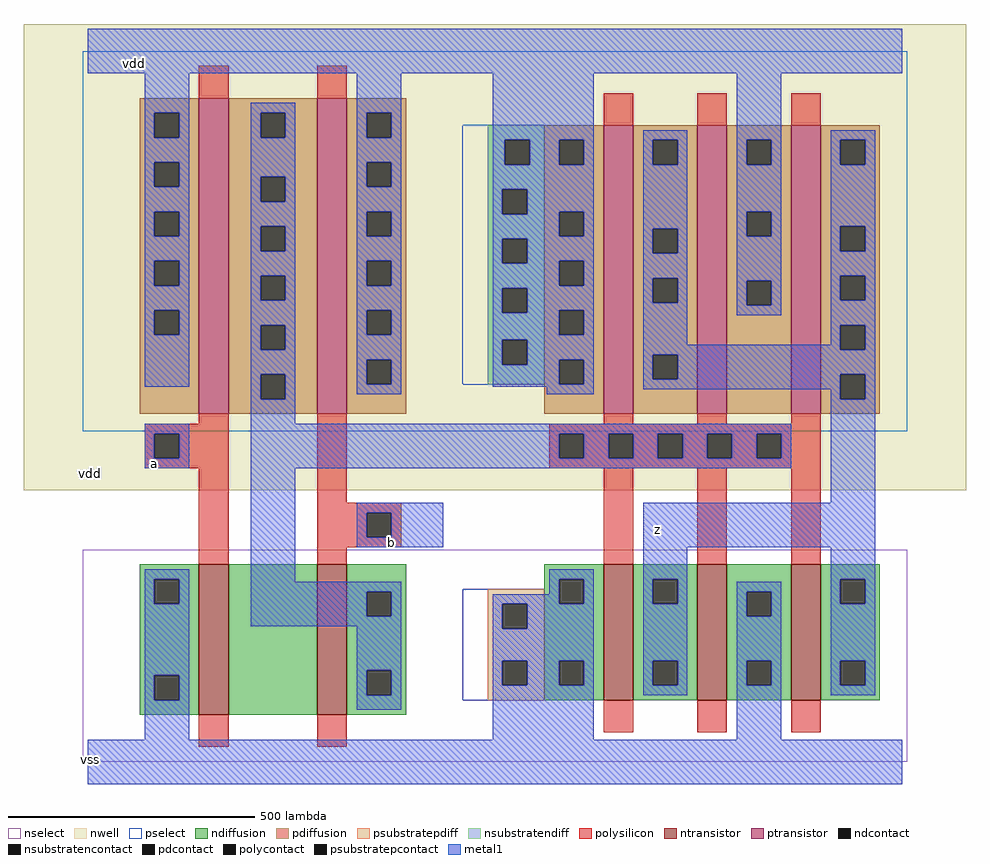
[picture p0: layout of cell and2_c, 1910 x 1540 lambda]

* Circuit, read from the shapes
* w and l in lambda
.subckt and2_c z a b vdd vss
M1 n1 a vss vss nfet w=305 l=60
M2 n2 b n1 vss nfet w=305 l=60
M3 z n2 vss vss nfet w=275 l=60 m=3
M4 n2 a vdd vdd pfet w=640 l=60
M5 vdd b n2 vdd pfet w=640 l=60
M6 z n2 vdd vdd pfet w=585 l=60 m=3
.ends

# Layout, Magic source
magic
tech amic5n
<< nwell >>
rect -130 550 1780 1495
<< ntransistor >>
rect 225 95 285 400
rect 465 95 525 400
rect 1045 125 1105 400
rect 1235 125 1295 400
rect 1425 125 1485 400
<< ptransistor >>
rect 225 705 285 1345
rect 465 705 525 1345
rect 1045 705 1105 1290
rect 1235 705 1295 1290
rect 1425 705 1485 1290
<< nselect >>
rect 760 765 925 1290
rect -10 350 1660 430
rect -10 125 760 350
rect 925 125 1660 350
rect -10 0 1660 125
<< pselect >>
rect -10 1290 1660 1440
rect -10 765 760 1290
rect 925 765 1660 1290
rect -10 670 1660 765
rect 760 125 925 350
<< ndiffusion >>
rect 105 370 225 400
rect 105 320 135 370
rect 185 320 225 370
rect 105 175 225 320
rect 105 125 135 175
rect 185 125 225 175
rect 105 95 225 125
rect 285 95 465 400
rect 525 345 645 400
rect 925 370 1045 400
rect 525 295 565 345
rect 615 295 645 345
rect 525 185 645 295
rect 525 135 565 185
rect 615 135 645 185
rect 525 95 645 135
rect 925 320 955 370
rect 1005 320 1045 370
rect 925 205 1045 320
rect 925 155 955 205
rect 1005 155 1045 205
rect 925 125 1045 155
rect 1105 370 1235 400
rect 1105 320 1145 370
rect 1195 320 1235 370
rect 1105 205 1235 320
rect 1105 155 1145 205
rect 1195 155 1235 205
rect 1105 125 1235 155
rect 1295 345 1425 400
rect 1295 295 1335 345
rect 1385 295 1425 345
rect 1295 205 1425 295
rect 1295 155 1335 205
rect 1385 155 1425 205
rect 1295 125 1425 155
rect 1485 370 1605 400
rect 1485 320 1525 370
rect 1575 320 1605 370
rect 1485 205 1605 320
rect 1485 155 1525 205
rect 1575 155 1605 205
rect 1485 125 1605 155
<< pdiffusion >>
rect 105 1315 225 1345
rect 105 1265 135 1315
rect 185 1265 225 1315
rect 105 1215 225 1265
rect 105 1165 135 1215
rect 185 1165 225 1215
rect 105 1115 225 1165
rect 105 1065 135 1115
rect 185 1065 225 1115
rect 105 1015 225 1065
rect 105 965 135 1015
rect 185 965 225 1015
rect 105 915 225 965
rect 105 865 135 915
rect 185 865 225 915
rect 105 705 225 865
rect 285 1315 465 1345
rect 285 1265 350 1315
rect 400 1265 465 1315
rect 285 1185 465 1265
rect 285 1135 350 1185
rect 400 1135 465 1185
rect 285 1085 465 1135
rect 285 1035 350 1085
rect 400 1035 465 1085
rect 285 985 465 1035
rect 285 935 350 985
rect 400 935 465 985
rect 285 885 465 935
rect 285 835 350 885
rect 400 835 465 885
rect 285 785 465 835
rect 285 735 350 785
rect 400 735 465 785
rect 285 705 465 735
rect 525 1315 645 1345
rect 525 1265 565 1315
rect 615 1265 645 1315
rect 525 1215 645 1265
rect 525 1165 565 1215
rect 615 1165 645 1215
rect 525 1115 645 1165
rect 525 1065 565 1115
rect 615 1065 645 1115
rect 525 1015 645 1065
rect 525 965 565 1015
rect 615 965 645 1015
rect 525 915 645 965
rect 525 865 565 915
rect 615 865 645 915
rect 525 815 645 865
rect 525 765 565 815
rect 615 765 645 815
rect 925 1260 1045 1290
rect 925 1210 955 1260
rect 1005 1210 1045 1260
rect 925 1115 1045 1210
rect 925 1065 955 1115
rect 1005 1065 1045 1115
rect 925 1015 1045 1065
rect 925 965 955 1015
rect 1005 965 1045 1015
rect 925 915 1045 965
rect 925 865 955 915
rect 1005 865 1045 915
rect 925 815 1045 865
rect 925 765 955 815
rect 1005 765 1045 815
rect 525 705 645 765
rect 925 705 1045 765
rect 1105 1260 1235 1290
rect 1105 1210 1145 1260
rect 1195 1210 1235 1260
rect 1105 1080 1235 1210
rect 1105 1030 1145 1080
rect 1195 1030 1235 1080
rect 1105 980 1235 1030
rect 1105 930 1145 980
rect 1195 930 1235 980
rect 1105 825 1235 930
rect 1105 775 1145 825
rect 1195 775 1235 825
rect 1105 705 1235 775
rect 1295 1260 1425 1290
rect 1295 1210 1335 1260
rect 1385 1210 1425 1260
rect 1295 1115 1425 1210
rect 1295 1065 1335 1115
rect 1385 1065 1425 1115
rect 1295 975 1425 1065
rect 1295 925 1335 975
rect 1385 925 1425 975
rect 1295 705 1425 925
rect 1485 1260 1605 1290
rect 1485 1210 1525 1260
rect 1575 1210 1605 1260
rect 1485 1085 1605 1210
rect 1485 1035 1525 1085
rect 1575 1035 1605 1085
rect 1485 985 1605 1035
rect 1485 935 1525 985
rect 1575 935 1605 985
rect 1485 885 1605 935
rect 1485 835 1525 885
rect 1575 835 1605 885
rect 1485 785 1605 835
rect 1485 735 1525 785
rect 1575 735 1605 785
rect 1485 705 1605 735
<< psubstratepdiff >>
rect 810 320 925 350
rect 810 270 840 320
rect 890 270 925 320
rect 810 205 925 270
rect 810 155 840 205
rect 890 155 925 205
rect 810 125 925 155
<< nsubstratendiff >>
rect 810 1260 925 1290
rect 810 1210 845 1260
rect 895 1210 925 1260
rect 810 1160 925 1210
rect 810 1110 840 1160
rect 890 1110 925 1160
rect 810 1060 925 1110
rect 810 1010 840 1060
rect 890 1010 925 1060
rect 810 960 925 1010
rect 810 910 840 960
rect 890 910 925 960
rect 810 855 925 910
rect 810 805 840 855
rect 890 805 925 855
rect 810 765 925 805
<< nsubstratencontact >>
rect 845 1210 895 1260
rect 840 1110 890 1160
rect 840 1010 890 1060
rect 840 910 890 960
rect 840 805 890 855
<< psubstratepcontact >>
rect 840 270 890 320
rect 840 155 890 205
<< ndcontact >>
rect 135 320 185 370
rect 135 125 185 175
rect 565 295 615 345
rect 565 135 615 185
rect 955 320 1005 370
rect 955 155 1005 205
rect 1145 320 1195 370
rect 1145 155 1195 205
rect 1335 295 1385 345
rect 1335 155 1385 205
rect 1525 320 1575 370
rect 1525 155 1575 205
<< pdcontact >>
rect 135 1265 185 1315
rect 135 1165 185 1215
rect 135 1065 185 1115
rect 135 965 185 1015
rect 135 865 185 915
rect 350 1265 400 1315
rect 350 1135 400 1185
rect 350 1035 400 1085
rect 350 935 400 985
rect 350 835 400 885
rect 350 735 400 785
rect 565 1265 615 1315
rect 565 1165 615 1215
rect 565 1065 615 1115
rect 565 965 615 1015
rect 565 865 615 915
rect 565 765 615 815
rect 955 1210 1005 1260
rect 955 1065 1005 1115
rect 955 965 1005 1015
rect 955 865 1005 915
rect 955 765 1005 815
rect 1145 1210 1195 1260
rect 1145 1030 1195 1080
rect 1145 930 1195 980
rect 1145 775 1195 825
rect 1335 1210 1385 1260
rect 1335 1065 1385 1115
rect 1335 925 1385 975
rect 1525 1210 1575 1260
rect 1525 1035 1575 1085
rect 1525 935 1575 985
rect 1525 835 1575 885
rect 1525 735 1575 785
<< polysilicon >>
rect 225 1345 285 1410
rect 465 1345 525 1410
rect 1045 1290 1105 1355
rect 1235 1290 1295 1355
rect 1425 1290 1485 1355
rect 225 685 285 705
rect 115 665 285 685
rect 115 615 135 665
rect 185 615 285 665
rect 115 595 285 615
rect 225 400 285 595
rect 465 525 525 705
rect 1045 685 1105 705
rect 1235 685 1295 705
rect 1425 685 1485 705
rect 935 665 1485 685
rect 935 615 955 665
rect 1005 615 1055 665
rect 1105 615 1155 665
rect 1205 615 1255 665
rect 1305 615 1355 665
rect 1405 615 1485 665
rect 935 595 1485 615
rect 465 505 635 525
rect 465 455 565 505
rect 615 455 635 505
rect 465 435 635 455
rect 465 400 525 435
rect 1045 400 1105 595
rect 1235 400 1295 595
rect 1425 400 1485 595
rect 225 30 285 95
rect 465 30 525 95
rect 1045 60 1105 125
rect 1235 60 1295 125
rect 1425 60 1485 125
<< polycontact >>
rect 135 615 185 665
rect 955 615 1005 665
rect 1055 615 1105 665
rect 1155 615 1205 665
rect 1255 615 1305 665
rect 1355 615 1405 665
rect 565 455 615 505
<< metal1 >>
rect 0 1395 1650 1485
rect 115 1315 205 1395
rect 115 1265 135 1315
rect 185 1265 205 1315
rect 115 1215 205 1265
rect 115 1165 135 1215
rect 185 1165 205 1215
rect 115 1115 205 1165
rect 115 1065 135 1115
rect 185 1065 205 1115
rect 115 1015 205 1065
rect 115 965 135 1015
rect 185 965 205 1015
rect 115 915 205 965
rect 115 865 135 915
rect 185 865 205 915
rect 115 760 205 865
rect 330 1315 420 1335
rect 330 1265 350 1315
rect 400 1265 420 1315
rect 330 1185 420 1265
rect 330 1135 350 1185
rect 400 1135 420 1185
rect 330 1085 420 1135
rect 330 1035 350 1085
rect 400 1035 420 1085
rect 330 985 420 1035
rect 330 935 350 985
rect 400 935 420 985
rect 330 885 420 935
rect 330 835 350 885
rect 400 835 420 885
rect 330 785 420 835
rect 330 735 350 785
rect 400 735 420 785
rect 545 1315 635 1395
rect 545 1265 565 1315
rect 615 1265 635 1315
rect 545 1215 635 1265
rect 545 1165 565 1215
rect 615 1165 635 1215
rect 545 1115 635 1165
rect 545 1065 565 1115
rect 615 1065 635 1115
rect 545 1015 635 1065
rect 545 965 565 1015
rect 615 965 635 1015
rect 545 915 635 965
rect 545 865 565 915
rect 615 865 635 915
rect 545 815 635 865
rect 545 765 565 815
rect 615 765 635 815
rect 545 745 635 765
rect 820 1260 1025 1395
rect 820 1210 845 1260
rect 895 1210 955 1260
rect 1005 1210 1025 1260
rect 820 1160 1025 1210
rect 820 1110 840 1160
rect 890 1115 1025 1160
rect 890 1110 955 1115
rect 820 1065 955 1110
rect 1005 1065 1025 1115
rect 820 1060 1025 1065
rect 820 1010 840 1060
rect 890 1015 1025 1060
rect 890 1010 955 1015
rect 820 965 955 1010
rect 1005 965 1025 1015
rect 820 960 1025 965
rect 820 910 840 960
rect 890 915 1025 960
rect 890 910 955 915
rect 820 865 955 910
rect 1005 865 1025 915
rect 820 855 1025 865
rect 820 805 840 855
rect 890 815 1025 855
rect 890 805 955 815
rect 820 765 955 805
rect 1005 765 1025 815
rect 820 760 1025 765
rect 930 745 1025 760
rect 1125 1260 1215 1280
rect 1125 1210 1145 1260
rect 1195 1210 1215 1260
rect 1125 1080 1215 1210
rect 1125 1030 1145 1080
rect 1195 1030 1215 1080
rect 1125 980 1215 1030
rect 1125 930 1145 980
rect 1195 930 1215 980
rect 1125 845 1215 930
rect 1315 1260 1405 1395
rect 1315 1210 1335 1260
rect 1385 1210 1405 1260
rect 1315 1115 1405 1210
rect 1315 1065 1335 1115
rect 1385 1065 1405 1115
rect 1315 975 1405 1065
rect 1315 925 1335 975
rect 1385 925 1405 975
rect 1315 905 1405 925
rect 1505 1260 1595 1280
rect 1505 1210 1525 1260
rect 1575 1210 1595 1260
rect 1505 1085 1595 1210
rect 1505 1035 1525 1085
rect 1575 1035 1595 1085
rect 1505 985 1595 1035
rect 1505 935 1525 985
rect 1575 935 1595 985
rect 1505 885 1595 935
rect 1505 845 1525 885
rect 1125 835 1525 845
rect 1575 835 1595 885
rect 1125 825 1595 835
rect 1125 775 1145 825
rect 1195 785 1595 825
rect 1195 775 1525 785
rect 1125 755 1525 775
rect 330 685 420 735
rect 1505 735 1525 755
rect 1575 735 1595 785
rect 115 665 205 685
rect 115 615 135 665
rect 185 615 205 665
rect 115 595 205 615
rect 330 665 1425 685
rect 330 615 955 665
rect 1005 615 1055 665
rect 1105 615 1155 665
rect 1205 615 1255 665
rect 1305 615 1355 665
rect 1405 615 1425 665
rect 330 595 1425 615
rect 115 370 205 390
rect 115 320 135 370
rect 185 320 205 370
rect 115 175 205 320
rect 330 365 420 595
rect 1505 525 1595 735
rect 545 505 720 525
rect 545 455 565 505
rect 615 455 720 505
rect 545 435 720 455
rect 1125 435 1595 525
rect 935 370 1025 390
rect 330 345 635 365
rect 330 295 565 345
rect 615 295 635 345
rect 935 340 955 370
rect 330 275 635 295
rect 115 125 135 175
rect 185 125 205 175
rect 115 45 205 125
rect 545 185 635 275
rect 545 135 565 185
rect 615 135 635 185
rect 545 105 635 135
rect 820 320 955 340
rect 1005 320 1025 370
rect 820 270 840 320
rect 890 270 1025 320
rect 820 205 1025 270
rect 820 155 840 205
rect 890 155 955 205
rect 1005 155 1025 205
rect 820 45 1025 155
rect 1125 370 1215 435
rect 1125 320 1145 370
rect 1195 320 1215 370
rect 1505 370 1595 435
rect 1125 205 1215 320
rect 1125 155 1145 205
rect 1195 155 1215 205
rect 1125 135 1215 155
rect 1315 345 1405 365
rect 1315 295 1335 345
rect 1385 295 1405 345
rect 1315 205 1405 295
rect 1315 155 1335 205
rect 1385 155 1405 205
rect 1315 45 1405 155
rect 1505 320 1525 370
rect 1575 320 1595 370
rect 1505 205 1595 320
rect 1505 155 1525 205
rect 1575 155 1595 205
rect 1505 135 1595 155
rect 0 -45 1650 45
<< labels >>
flabel metal1 s 616 445 616 445 2 FreeSans 400 0 0 0 b
port 2 ne
flabel metal1 s 95 1415 95 1415 2 FreeSans 400 0 0 0 vdd
port 3 ne
flabel metal1 s 5 5 5 5 2 FreeSans 400 0 0 0 vss
port 4 ne
flabel nwell 5 585 5 585 2 FreeSans 400 0 0 0 vdd
flabel metal1 s 1155 470 1155 470 2 FreeSans 400 0 0 0 z
port 0 ne
flabel metal1 s 135 605 135 605 2 FreeSans 400 0 0 0 a
port 1 ne
<< properties >>
string FIXED_BBOX 0 0 1650 1440
string LEFclass CORE
string LEFsite core
string LEFsymmetry X Y
<< end >>
